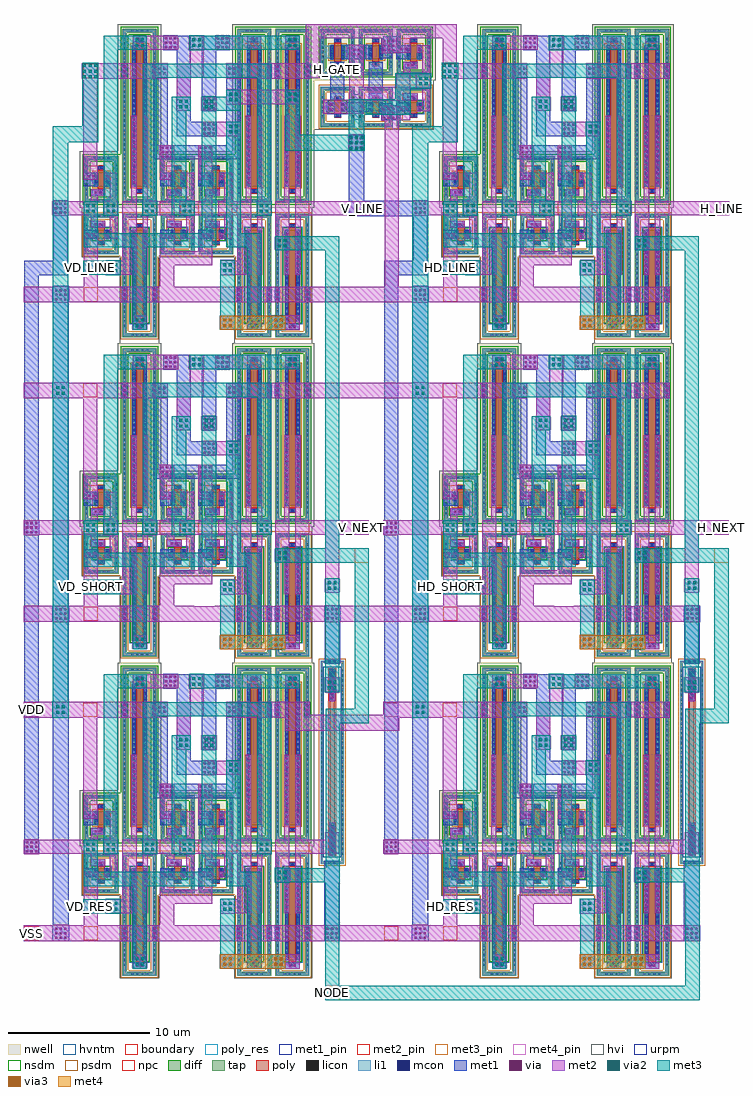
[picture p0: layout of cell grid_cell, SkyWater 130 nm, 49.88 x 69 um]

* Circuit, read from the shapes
.subckt grid_cell HD_LINE HD_RES HD_SHORT H_GATE H_LINE H_NEXT NODE VDD VD_LINE VD_RES VD_SHORT VSS V_GATE V_LINE V_NEXT
XM1 resistor_cell_2/latched_switch_3/latch_1/GATEB resistor_cell_1/GATE VSS VSS sky130_fd_pr__nfet_g5v0d10v5 w=0.65 l=0.5
XM2 resistor_cell_2/latched_switch_2/latch_1/GATEB resistor_cell_1/GATE VSS VSS sky130_fd_pr__nfet_g5v0d10v5 w=0.65 l=0.5
XM3 resistor_cell_2/latched_switch_1/latch_1/GATEB resistor_cell_1/GATE VSS VSS sky130_fd_pr__nfet_g5v0d10v5 w=0.65 l=0.5
XM4 resistor_cell_2/latched_switch_3/latch_1/inverter_1/IN resistor_cell_1/GATE VD_RES VSS sky130_fd_pr__nfet_g5v0d10v5 w=6.5 l=0.5
XM5 resistor_cell_2/latched_switch_2/latch_1/inverter_1/IN resistor_cell_1/GATE VD_SHORT VSS sky130_fd_pr__nfet_g5v0d10v5 w=6.5 l=0.5
XM6 resistor_cell_2/latched_switch_1/latch_1/inverter_1/IN resistor_cell_1/GATE VD_LINE VSS sky130_fd_pr__nfet_g5v0d10v5 w=6.5 l=0.5
XM7 resistor_cell_2/latched_switch_3/pass_gate_2/ENB resistor_cell_2/latched_switch_3/latch_1/inverter_1/IN VSS VSS sky130_fd_pr__nfet_g5v0d10v5 w=0.65 l=0.5
XM8 resistor_cell_2/latched_switch_2/pass_gate_2/ENB resistor_cell_2/latched_switch_2/latch_1/inverter_1/IN VSS VSS sky130_fd_pr__nfet_g5v0d10v5 w=0.65 l=0.5
XM9 resistor_cell_2/latched_switch_1/pass_gate_2/ENB resistor_cell_2/latched_switch_1/latch_1/inverter_1/IN VSS VSS sky130_fd_pr__nfet_g5v0d10v5 w=0.65 l=0.5
XM10 resistor_cell_2/latched_switch_3/Q resistor_cell_2/latched_switch_3/pass_gate_2/ENB VSS VSS sky130_fd_pr__nfet_g5v0d10v5 w=0.65 l=0.5
XM11 resistor_cell_2/latched_switch_2/Q resistor_cell_2/latched_switch_2/pass_gate_2/ENB VSS VSS sky130_fd_pr__nfet_g5v0d10v5 w=0.65 l=0.5
XM12 resistor_cell_2/latched_switch_1/Q resistor_cell_2/latched_switch_1/pass_gate_2/ENB VSS VSS sky130_fd_pr__nfet_g5v0d10v5 w=0.65 l=0.5
XM13 resistor_cell_2/latched_switch_3/latch_1/inverter_1/IN resistor_cell_2/latched_switch_3/latch_1/GATEB resistor_cell_2/latched_switch_3/Q VSS sky130_fd_pr__nfet_g5v0d10v5 w=6.5 l=0.5
XM14 resistor_cell_2/latched_switch_2/latch_1/inverter_1/IN resistor_cell_2/latched_switch_2/latch_1/GATEB resistor_cell_2/latched_switch_2/Q VSS sky130_fd_pr__nfet_g5v0d10v5 w=6.5 l=0.5
XM15 resistor_cell_2/latched_switch_1/latch_1/inverter_1/IN resistor_cell_2/latched_switch_1/latch_1/GATEB resistor_cell_2/latched_switch_1/Q VSS sky130_fd_pr__nfet_g5v0d10v5 w=6.5 l=0.5
XM16 resistor_cell_2/latched_switch_3/UB resistor_cell_2/latched_switch_3/Q NODE VSS sky130_fd_pr__nfet_g5v0d10v5 w=6.5 l=0.5
XM17 V_NEXT resistor_cell_2/latched_switch_2/Q NODE VSS sky130_fd_pr__nfet_g5v0d10v5 w=6.5 l=0.5
XM18 V_LINE resistor_cell_2/latched_switch_1/Q NODE VSS sky130_fd_pr__nfet_g5v0d10v5 w=6.5 l=0.5
XM19 n1 H_GATE and_gate_0/inverter_0/IN VSS sky130_fd_pr__nfet_g5v0d10v5 w=0.65 l=0.5
XM20 VSS V_GATE n1 VSS sky130_fd_pr__nfet_g5v0d10v5 w=0.65 l=0.5
XM21 resistor_cell_1/GATE and_gate_0/inverter_0/IN VSS VSS sky130_fd_pr__nfet_g5v0d10v5 w=0.65 l=0.5
XM22 resistor_cell_1/latched_switch_3/latch_1/GATEB resistor_cell_1/GATE VSS VSS sky130_fd_pr__nfet_g5v0d10v5 w=0.65 l=0.5
XM23 resistor_cell_1/latched_switch_2/latch_1/GATEB resistor_cell_1/GATE VSS VSS sky130_fd_pr__nfet_g5v0d10v5 w=0.65 l=0.5
XM24 resistor_cell_1/latched_switch_1/latch_1/GATEB resistor_cell_1/GATE VSS VSS sky130_fd_pr__nfet_g5v0d10v5 w=0.65 l=0.5
XM25 resistor_cell_1/latched_switch_3/latch_1/inverter_1/IN resistor_cell_1/GATE HD_RES VSS sky130_fd_pr__nfet_g5v0d10v5 w=6.5 l=0.5
XM26 resistor_cell_1/latched_switch_2/latch_1/inverter_1/IN resistor_cell_1/GATE HD_SHORT VSS sky130_fd_pr__nfet_g5v0d10v5 w=6.5 l=0.5
XM27 resistor_cell_1/latched_switch_1/latch_1/inverter_1/IN resistor_cell_1/GATE HD_LINE VSS sky130_fd_pr__nfet_g5v0d10v5 w=6.5 l=0.5
XM28 resistor_cell_1/latched_switch_3/pass_gate_2/ENB resistor_cell_1/latched_switch_3/latch_1/inverter_1/IN VSS VSS sky130_fd_pr__nfet_g5v0d10v5 w=0.65 l=0.5
XM29 resistor_cell_1/latched_switch_2/pass_gate_2/ENB resistor_cell_1/latched_switch_2/latch_1/inverter_1/IN VSS VSS sky130_fd_pr__nfet_g5v0d10v5 w=0.65 l=0.5
XM30 resistor_cell_1/latched_switch_1/pass_gate_2/ENB resistor_cell_1/latched_switch_1/latch_1/inverter_1/IN VSS VSS sky130_fd_pr__nfet_g5v0d10v5 w=0.65 l=0.5
XM31 resistor_cell_1/latched_switch_3/Q resistor_cell_1/latched_switch_3/pass_gate_2/ENB VSS VSS sky130_fd_pr__nfet_g5v0d10v5 w=0.65 l=0.5
XM32 resistor_cell_1/latched_switch_2/Q resistor_cell_1/latched_switch_2/pass_gate_2/ENB VSS VSS sky130_fd_pr__nfet_g5v0d10v5 w=0.65 l=0.5
XM33 resistor_cell_1/latched_switch_1/Q resistor_cell_1/latched_switch_1/pass_gate_2/ENB VSS VSS sky130_fd_pr__nfet_g5v0d10v5 w=0.65 l=0.5
XM34 resistor_cell_1/latched_switch_3/latch_1/inverter_1/IN resistor_cell_1/latched_switch_3/latch_1/GATEB resistor_cell_1/latched_switch_3/Q VSS sky130_fd_pr__nfet_g5v0d10v5 w=6.5 l=0.5
XM35 resistor_cell_1/latched_switch_2/latch_1/inverter_1/IN resistor_cell_1/latched_switch_2/latch_1/GATEB resistor_cell_1/latched_switch_2/Q VSS sky130_fd_pr__nfet_g5v0d10v5 w=6.5 l=0.5
XM36 resistor_cell_1/latched_switch_1/latch_1/inverter_1/IN resistor_cell_1/latched_switch_1/latch_1/GATEB resistor_cell_1/latched_switch_1/Q VSS sky130_fd_pr__nfet_g5v0d10v5 w=6.5 l=0.5
XM37 resistor_cell_1/latched_switch_3/UB resistor_cell_1/latched_switch_3/Q NODE VSS sky130_fd_pr__nfet_g5v0d10v5 w=6.5 l=0.5
XM38 H_NEXT resistor_cell_1/latched_switch_2/Q NODE VSS sky130_fd_pr__nfet_g5v0d10v5 w=6.5 l=0.5
XM39 H_LINE resistor_cell_1/latched_switch_1/Q NODE VSS sky130_fd_pr__nfet_g5v0d10v5 w=6.5 l=0.5
XM40 resistor_cell_2/latched_switch_3/latch_1/GATEB resistor_cell_1/GATE VDD VDD sky130_fd_pr__pfet_g5v0d10v5 w=1 l=0.5
XM41 resistor_cell_2/latched_switch_2/latch_1/GATEB resistor_cell_1/GATE VDD VDD sky130_fd_pr__pfet_g5v0d10v5 w=1 l=0.5
XM42 resistor_cell_2/latched_switch_1/latch_1/GATEB resistor_cell_1/GATE VDD VDD sky130_fd_pr__pfet_g5v0d10v5 w=1 l=0.5
XM43 resistor_cell_2/latched_switch_3/latch_1/inverter_1/IN resistor_cell_2/latched_switch_3/latch_1/GATEB VD_RES VDD sky130_fd_pr__pfet_g5v0d10v5 w=10 l=0.5
XM44 resistor_cell_2/latched_switch_2/latch_1/inverter_1/IN resistor_cell_2/latched_switch_2/latch_1/GATEB VD_SHORT VDD sky130_fd_pr__pfet_g5v0d10v5 w=10 l=0.5
XM45 resistor_cell_2/latched_switch_1/latch_1/inverter_1/IN resistor_cell_2/latched_switch_1/latch_1/GATEB VD_LINE VDD sky130_fd_pr__pfet_g5v0d10v5 w=10 l=0.5
XM46 resistor_cell_2/latched_switch_3/pass_gate_2/ENB resistor_cell_2/latched_switch_3/latch_1/inverter_1/IN VDD VDD sky130_fd_pr__pfet_g5v0d10v5 w=1 l=0.5
XM47 resistor_cell_2/latched_switch_2/pass_gate_2/ENB resistor_cell_2/latched_switch_2/latch_1/inverter_1/IN VDD VDD sky130_fd_pr__pfet_g5v0d10v5 w=1 l=0.5
XM48 resistor_cell_2/latched_switch_1/pass_gate_2/ENB resistor_cell_2/latched_switch_1/latch_1/inverter_1/IN VDD VDD sky130_fd_pr__pfet_g5v0d10v5 w=1 l=0.5
XM49 resistor_cell_2/latched_switch_3/Q resistor_cell_2/latched_switch_3/pass_gate_2/ENB VDD VDD sky130_fd_pr__pfet_g5v0d10v5 w=1 l=0.5
XM50 resistor_cell_2/latched_switch_2/Q resistor_cell_2/latched_switch_2/pass_gate_2/ENB VDD VDD sky130_fd_pr__pfet_g5v0d10v5 w=1 l=0.5
XM51 resistor_cell_2/latched_switch_1/Q resistor_cell_2/latched_switch_1/pass_gate_2/ENB VDD VDD sky130_fd_pr__pfet_g5v0d10v5 w=1 l=0.5
XM52 resistor_cell_2/latched_switch_3/latch_1/inverter_1/IN resistor_cell_1/GATE resistor_cell_2/latched_switch_3/Q VDD sky130_fd_pr__pfet_g5v0d10v5 w=10 l=0.5
XM53 resistor_cell_2/latched_switch_2/latch_1/inverter_1/IN resistor_cell_1/GATE resistor_cell_2/latched_switch_2/Q VDD sky130_fd_pr__pfet_g5v0d10v5 w=10 l=0.5
XM54 resistor_cell_2/latched_switch_1/latch_1/inverter_1/IN resistor_cell_1/GATE resistor_cell_2/latched_switch_1/Q VDD sky130_fd_pr__pfet_g5v0d10v5 w=10 l=0.5
XM55 resistor_cell_2/latched_switch_3/UB resistor_cell_2/latched_switch_3/pass_gate_2/ENB NODE VDD sky130_fd_pr__pfet_g5v0d10v5 w=10 l=0.5
XM56 V_NEXT resistor_cell_2/latched_switch_2/pass_gate_2/ENB NODE VDD sky130_fd_pr__pfet_g5v0d10v5 w=10 l=0.5
XM57 V_LINE resistor_cell_2/latched_switch_1/pass_gate_2/ENB NODE VDD sky130_fd_pr__pfet_g5v0d10v5 w=10 l=0.5
XM58 and_gate_0/inverter_0/IN H_GATE VDD VDD sky130_fd_pr__pfet_g5v0d10v5 w=1 l=0.5
XM59 VDD V_GATE and_gate_0/inverter_0/IN VDD sky130_fd_pr__pfet_g5v0d10v5 w=1 l=0.5
XM60 resistor_cell_1/GATE and_gate_0/inverter_0/IN VDD VDD sky130_fd_pr__pfet_g5v0d10v5 w=1 l=0.5
XM61 resistor_cell_1/latched_switch_3/latch_1/GATEB resistor_cell_1/GATE VDD VDD sky130_fd_pr__pfet_g5v0d10v5 w=1 l=0.5
XM62 resistor_cell_1/latched_switch_2/latch_1/GATEB resistor_cell_1/GATE VDD VDD sky130_fd_pr__pfet_g5v0d10v5 w=1 l=0.5
XM63 resistor_cell_1/latched_switch_1/latch_1/GATEB resistor_cell_1/GATE VDD VDD sky130_fd_pr__pfet_g5v0d10v5 w=1 l=0.5
XM64 resistor_cell_1/latched_switch_3/latch_1/inverter_1/IN resistor_cell_1/latched_switch_3/latch_1/GATEB HD_RES VDD sky130_fd_pr__pfet_g5v0d10v5 w=10 l=0.5
XM65 resistor_cell_1/latched_switch_2/latch_1/inverter_1/IN resistor_cell_1/latched_switch_2/latch_1/GATEB HD_SHORT VDD sky130_fd_pr__pfet_g5v0d10v5 w=10 l=0.5
XM66 resistor_cell_1/latched_switch_1/latch_1/inverter_1/IN resistor_cell_1/latched_switch_1/latch_1/GATEB HD_LINE VDD sky130_fd_pr__pfet_g5v0d10v5 w=10 l=0.5
XM67 resistor_cell_1/latched_switch_3/pass_gate_2/ENB resistor_cell_1/latched_switch_3/latch_1/inverter_1/IN VDD VDD sky130_fd_pr__pfet_g5v0d10v5 w=1 l=0.5
XM68 resistor_cell_1/latched_switch_2/pass_gate_2/ENB resistor_cell_1/latched_switch_2/latch_1/inverter_1/IN VDD VDD sky130_fd_pr__pfet_g5v0d10v5 w=1 l=0.5
XM69 resistor_cell_1/latched_switch_1/pass_gate_2/ENB resistor_cell_1/latched_switch_1/latch_1/inverter_1/IN VDD VDD sky130_fd_pr__pfet_g5v0d10v5 w=1 l=0.5
XM70 resistor_cell_1/latched_switch_3/Q resistor_cell_1/latched_switch_3/pass_gate_2/ENB VDD VDD sky130_fd_pr__pfet_g5v0d10v5 w=1 l=0.5
XM71 resistor_cell_1/latched_switch_2/Q resistor_cell_1/latched_switch_2/pass_gate_2/ENB VDD VDD sky130_fd_pr__pfet_g5v0d10v5 w=1 l=0.5
XM72 resistor_cell_1/latched_switch_1/Q resistor_cell_1/latched_switch_1/pass_gate_2/ENB VDD VDD sky130_fd_pr__pfet_g5v0d10v5 w=1 l=0.5
XM73 resistor_cell_1/latched_switch_3/latch_1/inverter_1/IN resistor_cell_1/GATE resistor_cell_1/latched_switch_3/Q VDD sky130_fd_pr__pfet_g5v0d10v5 w=10 l=0.5
XM74 resistor_cell_1/latched_switch_2/latch_1/inverter_1/IN resistor_cell_1/GATE resistor_cell_1/latched_switch_2/Q VDD sky130_fd_pr__pfet_g5v0d10v5 w=10 l=0.5
XM75 resistor_cell_1/latched_switch_1/latch_1/inverter_1/IN resistor_cell_1/GATE resistor_cell_1/latched_switch_1/Q VDD sky130_fd_pr__pfet_g5v0d10v5 w=10 l=0.5
XM76 resistor_cell_1/latched_switch_3/UB resistor_cell_1/latched_switch_3/pass_gate_2/ENB NODE VDD sky130_fd_pr__pfet_g5v0d10v5 w=10 l=0.5
XM77 H_NEXT resistor_cell_1/latched_switch_2/pass_gate_2/ENB NODE VDD sky130_fd_pr__pfet_g5v0d10v5 w=10 l=0.5
XM78 H_LINE resistor_cell_1/latched_switch_1/pass_gate_2/ENB NODE VDD sky130_fd_pr__pfet_g5v0d10v5 w=10 l=0.5
XR79 V_NEXT resistor_cell_2/latched_switch_3/UB VSS sky130_fd_pr__res_xhigh_po w=0.35 l=8.75
XR80 H_NEXT resistor_cell_1/latched_switch_3/UB VSS sky130_fd_pr__res_xhigh_po w=0.35 l=8.75
.ends

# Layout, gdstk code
import gdstk
lib = gdstk.Library(unit=1e-6, precision=1e-09)
def R(c, l, rs):  # rectangles x0, y0, x1, y1
    for r in rs: c.add(gdstk.rectangle(r[:2], r[2:], *l))
def A(c, l, x, y, w, h, nx, ny, dx, dy):  # array of equal rectangles
    R(c, l, [(x+i*dx, y+j*dy, x+i*dx+w, y+j*dy+h) for i in range(nx) for j in range(ny)])
nwell = (64, 20)
diff = (65, 20)
tap = (65, 44)
poly_res = (66, 13)
poly = (66, 20)
licon = (66, 44)
li1 = (67, 20)
mcon = (67, 44)
met1_pin = (68, 16)
met1 = (68, 20)
via = (68, 44)
met2_pin = (69, 16)
met2 = (69, 20)
via2 = (69, 44)
met3_pin = (70, 16)
met3 = (70, 20)
via3 = (70, 44)
met4_pin = (71, 16)
met4 = (71, 20)
hvi = (75, 20)
urpm = (79, 20)
nsdm = (93, 44)
psdm = (94, 20)
npc = (95, 20)
hvntm = (125, 20)
boundary = (235, 4)

sky130_fd_pr__pfet_g5v0d = lib.new_cell('sky130_fd_pr__pfet_g5v0d10v5_KLAZY6')
R(sky130_fd_pr__pfet_g5v0d, nwell, [(-1.54,-1.985,1.54,1.985)])
R(sky130_fd_pr__pfet_g5v0d, diff, [(-0.54,-0.5,0.54,0.5)])
R(sky130_fd_pr__pfet_g5v0d, tap, [(-1.21,-1.655,1.21,-1.365), (-1.21,-1.365,-0.92,1.365), (0.92,-1.365,1.21,1.365), (-1.21,1.365,1.21,1.655)])
R(sky130_fd_pr__pfet_g5v0d, poly, [(-0.25,-0.985,0.25,0.985)])
A(sky130_fd_pr__pfet_g5v0d, licon, -0.595, -1.595, 0.17, 0.17, 4, 2, 0.34, 3.02)
A(sky130_fd_pr__pfet_g5v0d, licon, -1.15, -1.105, 0.17, 0.17, 1, 7, 0, 0.34)
A(sky130_fd_pr__pfet_g5v0d, licon, 0.98, -1.105, 0.17, 0.17, 1, 7, 0, 0.34)
A(sky130_fd_pr__pfet_g5v0d, licon, -0.48, -0.425, 0.17, 0.17, 1, 3, 0, 0.34)
A(sky130_fd_pr__pfet_g5v0d, licon, 0.31, -0.425, 0.17, 0.17, 1, 3, 0, 0.34)
R(sky130_fd_pr__pfet_g5v0d, licon, [(-0.085,-0.905,0.085,-0.735), (-0.085,0.735,0.085,0.905)])
R(sky130_fd_pr__pfet_g5v0d, li1, [(-1.15,-1.595,1.15,-1.425), (-1.15,-1.425,-0.98,1.425), (0.98,-1.425,1.15,1.425), (-0.25,-0.905,0.25,-0.735), (-0.48,-0.52,-0.31,0.52), (0.31,-0.52,0.48,0.52), (-0.25,0.735,0.25,0.905), (-1.15,1.425,1.15,1.595)])
R(sky130_fd_pr__pfet_g5v0d, mcon, [(-0.085,-0.905,0.085,-0.735), (-0.48,-0.265,-0.31,-0.095), (0.31,-0.265,0.48,-0.095), (-0.48,0.095,-0.31,0.265), (0.31,0.095,0.48,0.265), (-0.085,0.735,0.085,0.905)])
R(sky130_fd_pr__pfet_g5v0d, met1, [(-0.23,-0.935,0.23,-0.705), (-0.51,-0.5,-0.28,0.5), (0.28,-0.5,0.51,0.5), (-0.23,0.705,0.23,0.935)])
R(sky130_fd_pr__pfet_g5v0d, hvi, [(-1.54,-1.985,1.54,1.985)])
R(sky130_fd_pr__pfet_g5v0d, nsdm, [(-1.335,-1.78,1.335,-1.24), (-1.335,-1.24,-0.795,1.24), (0.795,-1.24,1.335,1.24), (-1.335,1.24,1.335,1.78)])
R(sky130_fd_pr__pfet_g5v0d, psdm, [(-0.665,-0.625,0.665,0.625)])
R(sky130_fd_pr__pfet_g5v0d, npc, [(-0.185,-1.005,0.185,-0.635), (-0.185,0.635,0.185,1.005)])
R(sky130_fd_pr__pfet_g5v0d, boundary, [(-1.065,-1.51,1.065,1.51)])

sky130_fd_pr__nfet_g5v0d = lib.new_cell('sky130_fd_pr__nfet_g5v0d10v5_CYDA8L')
R(sky130_fd_pr__nfet_g5v0d, diff, [(-0.54,-0.325,0.54,0.325)])
R(sky130_fd_pr__nfet_g5v0d, tap, [(-1.21,-1.435,1.21,-1.145), (-1.21,-1.145,-0.92,1.145), (0.92,-1.145,1.21,1.145), (-1.21,1.145,1.21,1.435)])
R(sky130_fd_pr__nfet_g5v0d, poly, [(-0.25,-0.765,0.25,0.765)])
A(sky130_fd_pr__nfet_g5v0d, licon, -0.595, -1.375, 0.17, 0.17, 4, 2, 0.34, 2.58)
A(sky130_fd_pr__nfet_g5v0d, licon, -1.15, -0.765, 0.17, 0.17, 1, 5, 0, 0.34)
A(sky130_fd_pr__nfet_g5v0d, licon, 0.98, -0.765, 0.17, 0.17, 1, 5, 0, 0.34)
R(sky130_fd_pr__nfet_g5v0d, licon, [(-0.085,-0.685,0.085,-0.515), (-0.48,-0.255,-0.31,-0.085), (0.31,-0.255,0.48,-0.085), (-0.48,0.085,-0.31,0.255), (0.31,0.085,0.48,0.255), (-0.085,0.515,0.085,0.685)])
R(sky130_fd_pr__nfet_g5v0d, li1, [(-1.15,-1.375,1.15,-1.205), (-1.15,-1.205,-0.98,1.205), (0.98,-1.205,1.15,1.205), (-0.25,-0.685,0.25,-0.515), (-0.48,-0.345,-0.31,0.345), (0.31,-0.345,0.48,0.345), (-0.25,0.515,0.25,0.685), (-1.15,1.205,1.15,1.375)])
R(sky130_fd_pr__nfet_g5v0d, mcon, [(-0.085,-0.685,0.085,-0.515), (-0.48,-0.265,-0.31,-0.095), (0.31,-0.265,0.48,-0.095), (-0.48,0.095,-0.31,0.265), (0.31,0.095,0.48,0.265), (-0.085,0.515,0.085,0.685)])
R(sky130_fd_pr__nfet_g5v0d, met1, [(-0.23,-0.715,0.23,-0.485), (-0.51,-0.325,-0.28,0.325), (0.28,-0.325,0.51,0.325), (-0.23,0.485,0.23,0.715)])
R(sky130_fd_pr__nfet_g5v0d, hvi, [(-1.395,-1.62,1.395,1.62)])
R(sky130_fd_pr__nfet_g5v0d, nsdm, [(-0.665,-0.45,0.665,0.45)])
R(sky130_fd_pr__nfet_g5v0d, psdm, [(-1.335,-1.56,1.335,-1.02), (-1.335,-1.02,-0.795,1.02), (0.795,-1.02,1.335,1.02), (-1.335,1.02,1.335,1.56)])
R(sky130_fd_pr__nfet_g5v0d, npc, [(-0.185,-0.785,0.185,-0.415), (-0.185,0.415,0.185,0.785)])
R(sky130_fd_pr__nfet_g5v0d, hvntm, [(-0.725,-0.51,0.725,0.51)])
R(sky130_fd_pr__nfet_g5v0d, boundary, [(-1.065,-1.29,1.065,1.29)])

inverter = lib.new_cell('inverter')
R(inverter, li1, [(0.385,1.35,1.23,1.88), (0.77,2.13,1.81,2.575), (0.875,4.375,1.71,4.75), (0.335,4.995,1.23,5.975)])
R(inverter, met1, [(0.285,1.3,1.33,1.93), (1.75,1.3,2.12,1.93), (0.77,2.08,1.81,2.575), (0.775,4.325,1.81,4.8), (0.285,4.995,1.33,5.975), (1.75,4.995,2.12,5.975)])
R(inverter, via, [(0.595,1.41,0.745,1.56), (0.915,1.41,1.065,1.56), (1.86,1.41,2.01,1.56), (1.055,2.25,1.205,2.4), (1.375,2.25,1.525,2.4), (1.055,4.485,1.205,4.635), (1.375,4.485,1.525,4.635), (0.575,5.635,0.725,5.785), (0.895,5.635,1.045,5.785), (1.86,5.635,2.01,5.785)])
R(inverter, met2_pin, [(0.275,0.675,1.275,1.675), (0.275,2.95,1.275,3.95), (1.7,2.95,2.7,3.95), (0.275,5.45,1.275,6.45)])
R(inverter, met2, [(0.275,0.675,1.275,1.3), (0.275,1.3,1.33,1.675), (1.75,1.3,2.695,1.675), (2.12,1.675,2.695,2.95), (0.77,2.08,1.81,2.575), (0.77,2.575,1.275,2.95), (0.275,2.95,1.275,3.95), (1.7,2.95,2.7,3.95), (0.77,3.95,1.275,4.325), (2.12,3.95,2.695,5.45), (0.77,4.325,1.81,4.8), (0.275,5.45,1.275,6.45), (1.75,5.45,2.695,5.975)])
R(inverter, hvi, [(0.145,3.235,2.935,3.5)])
inverter.add(gdstk.Reference(sky130_fd_pr__pfet_g5v0d, (1.54,5.485)))
inverter.add(gdstk.Reference(sky130_fd_pr__nfet_g5v0d, (1.54,1.615)))
inverter.add(gdstk.Label('VDD', (0.775,5.95), layer=69, texttype=5))
inverter.add(gdstk.Label('IN', (0.775,3.45), layer=69, texttype=5))
inverter.add(gdstk.Label('OUT', (2.2,3.45), layer=69, texttype=5))
inverter.add(gdstk.Label('VSS', (0.775,1.175), layer=69, texttype=5))

nand_gate = lib.new_cell('nand_gate')
R(nand_gate, li1, [(2.52,0.72,3.24,2.51), (0.96,1.275,1.33,1.955), (1.75,1.275,2.12,1.955), (3.66,1.275,4.03,1.955), (4.475,1.3,5.395,1.88), (1.37,2.13,1.71,2.15), (4.07,2.13,4.41,2.15), (1.05,2.15,2.025,2.575), (3.75,2.15,4.725,2.575), (1.05,4.325,2.025,4.775), (3.75,4.325,4.725,4.775), (1.8,4.97,2.275,6), (3.485,4.97,3.98,6), (4.475,5.045,5.395,5.975), (0.45,5.05,1.23,5.925)])
R(nand_gate, mcon, [(1.06,1.35,1.23,1.52), (1.85,1.35,2.02,1.52), (3.76,1.35,3.93,1.52), (4.55,1.35,4.72,1.52), (5.03,1.505,5.2,1.675), (1.06,1.71,1.23,1.88), (1.85,1.71,2.02,1.88), (3.76,1.71,3.93,1.88), (4.55,1.71,4.72,1.88)])
R(nand_gate, met1_pin, [(4.775,0.725,5.775,1.725), (1.025,2.95,2.025,3.95), (3.75,2.95,4.75,3.95), (4.775,5.6,5.775,6.6)])
R(nand_gate, met1, [(4.775,0.725,5.775,1.275), (0.71,1.275,1.355,1.955), (1.75,1.275,4.03,1.955), (4.525,1.275,5.775,1.3), (4.475,1.3,5.775,1.725), (4.475,1.725,5.395,1.88), (1.025,2.1,2.025,4.8), (3.75,2.1,4.75,4.8), (1.8,4.97,3.98,6), (4.475,5.045,5.395,5.6), (4.475,5.6,5.775,6), (4.775,6,5.775,6.6)])
R(nand_gate, via, [(0.955,1.38,1.105,1.53), (0.955,1.7,1.105,1.85), (2.64,5.25,2.79,5.4), (2.96,5.25,3.11,5.4), (2.64,5.57,2.79,5.72), (2.96,5.57,3.11,5.72)])
R(nand_gate, met2_pin, [(2.375,1.125,3.375,2.125)])
R(nand_gate, met2, [(0.525,1.125,3.375,2.125), (2.375,2.125,3.375,6)])
R(nand_gate, hvi, [(0.145,3.235,5.635,3.5)])
R(nand_gate, nsdm, [(2.875,3.705,2.905,7.265)])
R(nand_gate, psdm, [(2.875,0.055,2.905,3.175)])
nand_gate.add(gdstk.Reference(sky130_fd_pr__pfet_g5v0d, (4.24,5.485)))
nand_gate.add(gdstk.Reference(sky130_fd_pr__pfet_g5v0d, (1.54,5.485)))
nand_gate.add(gdstk.Reference(sky130_fd_pr__nfet_g5v0d, (4.24,1.615)))
nand_gate.add(gdstk.Reference(sky130_fd_pr__nfet_g5v0d, (1.54,1.615)))
nand_gate.add(gdstk.Label('VDD', (5.275,6.1), layer=68, texttype=5))
nand_gate.add(gdstk.Label('A', (1.525,3.45), layer=68, texttype=5))
nand_gate.add(gdstk.Label('OUT', (2.875,1.625), layer=69, texttype=5))
nand_gate.add(gdstk.Label('B', (4.25,3.45), layer=68, texttype=5))
nand_gate.add(gdstk.Label('VSS', (5.275,1.225), layer=68, texttype=5))

and_gate = lib.new_cell('and_gate')
R(and_gate, met1_pin, [(1.025,3.775,2.025,4.775), (3.75,3.775,4.75,4.775)])
R(and_gate, met1, [(4.62,0.675,5.68,0.725), (4.62,0.725,5.775,1.675), (4.775,1.675,5.775,1.725), (1.025,2.95,2.025,4.775), (3.75,2.95,4.75,4.775), (4.625,5.45,5.775,6.45), (4.775,6.45,5.775,6.6)])
A(and_gate, via, 4.755, 0.78, 0.15, 0.15, 3, 3, 0.32, 0.32)
A(and_gate, via, 4.765, 5.555, 0.15, 0.15, 3, 3, 0.32, 0.32)
R(and_gate, met2_pin, [(5.675,0.675,6.675,1.675), (7.1,2.95,8.1,3.95), (5.675,5.45,6.675,6.45)])
R(and_gate, met2, [(4.65,0.645,5.65,0.675), (4.65,0.675,6.675,1.675), (2.375,1.125,3.375,2.05), (4.65,1.675,5.65,1.705), (2.375,2.05,6.675,3.05), (7.1,2.95,8.1,3.95), (5.675,3.05,6.675,3.95), (4.65,5.42,5.65,5.45), (4.65,5.45,6.675,6.45), (4.65,6.45,5.65,6.48)])
R(and_gate, nsdm, [(5.575,3.705,5.605,7.265)])
R(and_gate, psdm, [(5.575,0.055,5.605,3.175)])
and_gate.add(gdstk.Reference(inverter, (5.4,0)))
and_gate.add(gdstk.Reference(nand_gate, (0,0)))
and_gate.add(gdstk.Label('VDD', (6.175,5.95), layer=69, texttype=5))
and_gate.add(gdstk.Label('OUT', (7.6,3.45), layer=69, texttype=5))
and_gate.add(gdstk.Label('A', (1.525,4.275), layer=68, texttype=5))
and_gate.add(gdstk.Label('B', (4.25,4.275), layer=68, texttype=5))
and_gate.add(gdstk.Label('VSS', (6.175,1.175), layer=69, texttype=5))

sky130_fd_pr__res_xhigh_ = lib.new_cell('sky130_fd_pr__res_xhigh_po_0p35_75WWSS')
R(sky130_fd_pr__res_xhigh_, tap, [(-0.825,-7.185,0.825,-7.015), (-0.825,-7.015,-0.655,7.015), (0.655,-7.015,0.825,7.015), (-0.825,7.015,0.825,7.185)])
R(sky130_fd_pr__res_xhigh_, poly_res, [(-0.175,-4.435,0.175,4.435)])
R(sky130_fd_pr__res_xhigh_, poly, [(-0.175,-6.535,0.175,6.535)])
A(sky130_fd_pr__res_xhigh_, licon, -0.825, -6.545, 0.17, 0.17, 1, 39, 0, 0.34)
A(sky130_fd_pr__res_xhigh_, licon, 0.655, -6.545, 0.17, 0.17, 1, 39, 0, 0.34)
R(sky130_fd_pr__res_xhigh_, licon, [(-0.255,-7.185,-0.085,-7.015), (0.085,-7.185,0.255,-7.015), (-0.095,-6.455,0.095,-4.455), (-0.095,4.455,0.095,6.455), (-0.255,7.015,-0.085,7.185), (0.085,7.015,0.255,7.185)])
R(sky130_fd_pr__res_xhigh_, li1, [(-0.825,-7.185,0.825,-7.015), (-0.825,-7.015,-0.655,7.015), (0.655,-7.015,0.825,7.015), (-0.175,-6.535,0.175,-4.375), (-0.175,4.375,0.175,6.535), (-0.825,7.015,0.825,7.185)])
A(sky130_fd_pr__res_xhigh_, mcon, -0.085, -6.44, 0.17, 0.17, 1, 6, 0, 0.36)
A(sky130_fd_pr__res_xhigh_, mcon, -0.085, 4.465, 0.17, 0.17, 1, 6, 0, 0.36)
R(sky130_fd_pr__res_xhigh_, met1, [(-0.125,-6.505,0.125,-4.4), (-0.125,4.4,0.125,6.505)])
R(sky130_fd_pr__res_xhigh_, urpm, [(-0.635,-6.735,0.635,6.735)])
R(sky130_fd_pr__res_xhigh_, psdm, [(-0.95,-7.31,0.95,7.31)])
R(sky130_fd_pr__res_xhigh_, npc, [(-0.27,-6.63,0.27,6.63)])
R(sky130_fd_pr__res_xhigh_, boundary, [(-0.74,-7.1,0.74,7.1)])

c_sky130_fd_pr__pfet_g5v0d = lib.new_cell('sky130_fd_pr__pfet_g5v0d10v5_KLP5N5')
R(c_sky130_fd_pr__pfet_g5v0d, nwell, [(-1.54,-6.485,1.54,6.485)])
R(c_sky130_fd_pr__pfet_g5v0d, diff, [(-0.54,-5,0.54,5)])
R(c_sky130_fd_pr__pfet_g5v0d, tap, [(-1.21,-6.155,1.21,-5.865), (-1.21,-5.865,-0.92,5.865), (0.92,-5.865,1.21,5.865), (-1.21,5.865,1.21,6.155)])
R(c_sky130_fd_pr__pfet_g5v0d, poly, [(-0.25,-5.485,0.25,5.485)])
A(c_sky130_fd_pr__pfet_g5v0d, licon, -0.595, -6.095, 0.17, 0.17, 4, 2, 0.34, 12.02)
A(c_sky130_fd_pr__pfet_g5v0d, licon, -1.15, -5.525, 0.17, 0.17, 1, 33, 0, 0.34)
A(c_sky130_fd_pr__pfet_g5v0d, licon, 0.98, -5.525, 0.17, 0.17, 1, 33, 0, 0.34)
A(c_sky130_fd_pr__pfet_g5v0d, licon, -0.48, -4.845, 0.17, 0.17, 1, 29, 0, 0.34)
A(c_sky130_fd_pr__pfet_g5v0d, licon, 0.31, -4.845, 0.17, 0.17, 1, 29, 0, 0.34)
R(c_sky130_fd_pr__pfet_g5v0d, licon, [(-0.085,-5.405,0.085,-5.235), (-0.085,5.235,0.085,5.405)])
R(c_sky130_fd_pr__pfet_g5v0d, li1, [(-1.15,-6.095,1.15,-5.925), (-1.15,-5.925,-0.98,5.925), (0.98,-5.925,1.15,5.925), (-0.25,-5.405,0.25,-5.235), (-0.48,-5.02,-0.31,5.02), (0.31,-5.02,0.48,5.02), (-0.25,5.235,0.25,5.405), (-1.15,5.925,1.15,6.095)])
A(c_sky130_fd_pr__pfet_g5v0d, mcon, -0.48, -4.765, 0.17, 0.17, 1, 27, 0, 0.36)
A(c_sky130_fd_pr__pfet_g5v0d, mcon, 0.31, -4.765, 0.17, 0.17, 1, 27, 0, 0.36)
R(c_sky130_fd_pr__pfet_g5v0d, mcon, [(-0.085,-5.405,0.085,-5.235), (-0.085,5.235,0.085,5.405)])
R(c_sky130_fd_pr__pfet_g5v0d, met1, [(-0.23,-5.435,0.23,-5.205), (-0.51,-5,-0.28,5), (0.28,-5,0.51,5), (-0.23,5.205,0.23,5.435)])
R(c_sky130_fd_pr__pfet_g5v0d, hvi, [(-1.54,-6.485,1.54,6.485)])
R(c_sky130_fd_pr__pfet_g5v0d, nsdm, [(-1.335,-6.28,1.335,-5.74), (-1.335,-5.74,-0.795,5.74), (0.795,-5.74,1.335,5.74), (-1.335,5.74,1.335,6.28)])
R(c_sky130_fd_pr__pfet_g5v0d, psdm, [(-0.665,-5.125,0.665,5.125)])
R(c_sky130_fd_pr__pfet_g5v0d, npc, [(-0.185,-5.505,0.185,-5.135), (-0.185,5.135,0.185,5.505)])
R(c_sky130_fd_pr__pfet_g5v0d, boundary, [(-1.065,-6.01,1.065,6.01)])

c_sky130_fd_pr__nfet_g5v0d = lib.new_cell('sky130_fd_pr__nfet_g5v0d10v5_TMGAGH')
R(c_sky130_fd_pr__nfet_g5v0d, diff, [(-0.54,-3.25,0.54,3.25)])
R(c_sky130_fd_pr__nfet_g5v0d, tap, [(-1.21,-4.36,1.21,-4.07), (-1.21,-4.07,-0.92,4.07), (0.92,-4.07,1.21,4.07), (-1.21,4.07,1.21,4.36)])
R(c_sky130_fd_pr__nfet_g5v0d, poly, [(-0.25,-3.69,0.25,3.69)])
A(c_sky130_fd_pr__nfet_g5v0d, licon, -0.595, -4.3, 0.17, 0.17, 4, 2, 0.34, 8.43)
A(c_sky130_fd_pr__nfet_g5v0d, licon, -1.15, -3.655, 0.17, 0.17, 1, 22, 0, 0.34)
A(c_sky130_fd_pr__nfet_g5v0d, licon, 0.98, -3.655, 0.17, 0.17, 1, 22, 0, 0.34)
A(c_sky130_fd_pr__nfet_g5v0d, licon, -0.48, -3.145, 0.17, 0.17, 1, 19, 0, 0.34)
A(c_sky130_fd_pr__nfet_g5v0d, licon, 0.31, -3.145, 0.17, 0.17, 1, 19, 0, 0.34)
R(c_sky130_fd_pr__nfet_g5v0d, licon, [(-0.085,-3.61,0.085,-3.44), (-0.085,3.44,0.085,3.61)])
R(c_sky130_fd_pr__nfet_g5v0d, li1, [(-1.15,-4.3,1.15,-4.13), (-1.15,-4.13,-0.98,4.13), (0.98,-4.13,1.15,4.13), (-0.25,-3.61,0.25,-3.44), (-0.48,-3.27,-0.31,3.27), (0.31,-3.27,0.48,3.27), (-0.25,3.44,0.25,3.61), (-1.15,4.13,1.15,4.3)])
A(c_sky130_fd_pr__nfet_g5v0d, mcon, -0.48, -3.145, 0.17, 0.17, 1, 18, 0, 0.36)
A(c_sky130_fd_pr__nfet_g5v0d, mcon, 0.31, -3.145, 0.17, 0.17, 1, 18, 0, 0.36)
R(c_sky130_fd_pr__nfet_g5v0d, mcon, [(-0.085,-3.61,0.085,-3.44), (-0.085,3.44,0.085,3.61)])
R(c_sky130_fd_pr__nfet_g5v0d, met1, [(-0.23,-3.64,0.23,-3.41), (-0.51,-3.25,-0.28,3.25), (0.28,-3.25,0.51,3.25), (-0.23,3.41,0.23,3.64)])
R(c_sky130_fd_pr__nfet_g5v0d, hvi, [(-1.395,-4.545,1.395,4.545)])
R(c_sky130_fd_pr__nfet_g5v0d, nsdm, [(-0.665,-3.375,0.665,3.375)])
R(c_sky130_fd_pr__nfet_g5v0d, psdm, [(-1.335,-4.485,1.335,-3.945), (-1.335,-3.945,-0.795,3.945), (0.795,-3.945,1.335,3.945), (-1.335,3.945,1.335,4.485)])
R(c_sky130_fd_pr__nfet_g5v0d, npc, [(-0.185,-3.71,0.185,-3.34), (-0.185,3.34,0.185,3.71)])
R(c_sky130_fd_pr__nfet_g5v0d, hvntm, [(-0.725,-3.435,0.725,3.435)])
R(c_sky130_fd_pr__nfet_g5v0d, boundary, [(-1.06,-4.21,1.06,4.21)])

pass_gate = lib.new_cell('pass_gate')
R(pass_gate, li1, [(1.05,0.7,2.05,1.1), (0.39,2.695,0.56,3.71), (2.52,2.695,2.69,3.71), (0.39,18.495,0.56,19.5), (2.52,18.495,2.69,19.5), (1.05,21.05,2.05,21.5)])
A(pass_gate, mcon, 0.39, 2.755, 0.17, 0.17, 1, 3, 0, 0.36)
A(pass_gate, mcon, 2.52, 2.755, 0.17, 0.17, 1, 3, 0, 0.36)
A(pass_gate, mcon, 0.39, 18.55, 0.17, 0.17, 1, 3, 0, 0.36)
A(pass_gate, mcon, 2.52, 18.55, 0.17, 0.17, 1, 3, 0, 0.36)
R(pass_gate, met1, [(1.05,0.7,2.05,1.1), (0.29,2.645,0.66,3.76), (2.42,2.645,2.79,3.76), (0.96,4.6,1.33,7.78), (1.75,4.6,2.12,7.78), (0.96,10.845,1.33,15.825), (1.75,10.845,2.12,15.825), (0.29,18.445,0.66,19.55), (2.42,18.445,2.79,19.55), (1.05,21.05,2.05,21.5)])
A(pass_gate, via, 0.4, 2.805, 0.15, 0.15, 1, 3, 0, 0.32)
A(pass_gate, via, 2.53, 2.805, 0.15, 0.15, 1, 3, 0, 0.32)
A(pass_gate, via, 1.07, 4.835, 0.15, 0.15, 1, 9, 0, 0.32)
A(pass_gate, via, 1.86, 4.835, 0.15, 0.15, 1, 9, 0, 0.32)
A(pass_gate, via, 1.07, 11.02, 0.15, 0.15, 1, 15, 0, 0.32)
A(pass_gate, via, 1.86, 11.02, 0.15, 0.15, 1, 15, 0, 0.32)
A(pass_gate, via, 0.4, 18.6, 0.15, 0.15, 1, 3, 0, 0.32)
A(pass_gate, via, 2.53, 18.6, 0.15, 0.15, 1, 3, 0, 0.32)
R(pass_gate, via, [(1.315,0.825,1.465,0.975), (1.635,0.825,1.785,0.975), (1.315,21.2,1.465,21.35), (1.635,21.2,1.785,21.35)])
R(pass_gate, met2_pin, [(1.05,0.7,2.05,1.7), (1.05,2.7,2.05,3.7), (0.325,8.8,1.325,9.8), (1.75,8.8,2.75,9.8), (1.05,18.5,2.05,19.5), (1.05,20.5,2.05,21.5)])
R(pass_gate, met2, [(1.05,0.7,2.05,1.7), (0.29,2.645,2.79,3.76), (0.96,4.6,1.33,8.8), (1.75,4.6,2.12,8.8), (0.325,8.8,1.33,9.8), (1.75,8.8,2.75,9.8), (0.96,9.8,1.33,15.825), (1.75,9.8,2.12,15.825), (0.29,18.445,2.79,19.55), (1.05,20.5,2.05,21.5)])
R(pass_gate, hvi, [(0.145,9.085,2.935,9.35)])
pass_gate.add(gdstk.Reference(c_sky130_fd_pr__pfet_g5v0d, (1.54,15.835)))
pass_gate.add(gdstk.Reference(c_sky130_fd_pr__nfet_g5v0d, (1.54,4.54)))
pass_gate.add(gdstk.Label('VDD', (1.55,19), layer=69, texttype=5))
pass_gate.add(gdstk.Label('ENB', (1.55,21), layer=69, texttype=5))
pass_gate.add(gdstk.Label('UA', (0.825,9.3), layer=69, texttype=5))
pass_gate.add(gdstk.Label('UB', (2.25,9.3), layer=69, texttype=5))
pass_gate.add(gdstk.Label('EN', (1.55,1.2), layer=69, texttype=5))
pass_gate.add(gdstk.Label('VSS', (1.55,3.2), layer=69, texttype=5))

latch = lib.new_cell('latch')
R(latch, met1, [(2.525,12.75,8.675,13.75), (2.525,13.75,3.525,19.5), (7.675,13.75,8.675,19.5), (4.15,14.4,6.98,15.4), (4.15,15.4,5.15,20.47), (5.95,16.145,6.95,20.47), (3.225,20.47,5.15,21.5), (5.95,20.47,7.9,21.5), (3.225,21.5,4.225,21.53), (6.9,21.5,7.9,21.53)])
A(latch, via, 3.08, 12.855, 0.15, 0.15, 3, 3, 0.32, 0.32)
A(latch, via, 5.78, 12.855, 0.15, 0.15, 3, 3, 0.32, 0.32)
A(latch, via, 6.055, 14.505, 0.15, 0.15, 3, 3, 0.32, 0.32)
A(latch, via, 6.055, 16.28, 0.15, 0.15, 3, 3, 0.32, 0.32)
A(latch, via, 3.33, 20.605, 0.15, 0.15, 3, 3, 0.32, 0.32)
A(latch, via, 7.005, 20.605, 0.15, 0.15, 3, 3, 0.32, 0.32)
R(latch, via, [(2.9,18.775,3.05,18.925), (3.22,18.775,3.37,18.925), (7.815,18.775,7.965,18.925), (8.135,18.775,8.285,18.925), (2.9,19.095,3.05,19.245), (3.22,19.095,3.37,19.245), (7.815,19.095,7.965,19.245), (8.135,19.095,8.285,19.245)])
R(latch, met2_pin, [(1.05,0.7,2.05,1.7), (7.25,0.7,8.25,1.7), (9.15,0.7,10.15,1.7), (1.05,2.7,2.05,3.7), (9.15,2.7,10.15,3.7), (0.325,8.8,1.325,9.8), (1.05,18.5,2.05,19.5), (9.15,18.5,10.15,19.5), (1.05,20.5,2.05,21.5), (5.075,20.5,6.075,21.5), (9.15,20.5,10.15,21.5)])
R(latch, met2, [(1.05,0.7,2.05,0.725), (7.25,0.7,8.25,0.725), (9.15,0.7,10.15,0.725), (1.03,0.725,2.07,1.675), (7.23,0.725,8.27,1.675), (9.13,0.725,10.17,1.675), (1.05,1.675,2.05,1.7), (7.25,1.675,8.25,1.7), (9.15,1.675,10.15,1.7), (0.295,2.645,10.88,3.75), (0.295,3.75,5.4,3.76), (6.85,3.75,10.88,3.76), (2.975,3.76,3.975,5.275), (7.25,4.555,8.25,4.6), (7.25,4.6,9.43,5.6), (2.975,5.275,6.675,6.275), (7.25,5.6,8.25,5.645), (8.43,5.6,9.43,8.8), (2.975,6.275,3.975,7.525), (5.675,6.275,6.675,7.525), (1.75,8.755,2.75,8.8), (0.325,8.8,1.325,9.8), (1.75,8.8,3.975,8.83), (4.355,8.8,6.675,9.8), (7.1,8.8,9.43,9.8), (9.805,8.8,10.895,9.8), (1.75,8.83,3.995,9.775), (1.75,9.775,3.975,9.8), (1.75,9.8,2.75,9.845), (2.975,11.3,3.975,13.75), (5.675,11.3,6.675,13.75), (5.95,14.37,6.95,14.4), (5.95,14.4,8.72,15.4), (5.95,15.4,6.95,15.43), (4.15,16.175,5.15,16.2), (5.905,16.175,6.995,17.175), (4.13,16.2,5.17,17.15), (4.15,17.15,5.15,18.525), (8.75,18.445,10.9,18.45), (0.275,18.45,3.525,19.55), (7.675,18.45,10.9,19.55), (4.15,18.525,6.075,19.525), (5.075,19.525,6.075,21.5), (1.05,20.5,4.255,21.5), (6.87,20.5,10.15,21.5)])
R(latch, via2, [(1.25,0.9,1.45,1.1), (1.65,0.9,1.85,1.1), (7.45,0.9,7.65,1.1), (7.85,0.9,8.05,1.1), (9.35,0.9,9.55,1.1), (9.75,0.9,9.95,1.1), (1.25,1.3,1.45,1.5), (1.65,1.3,1.85,1.5), (7.45,1.3,7.65,1.5), (7.85,1.3,8.05,1.5), (9.35,1.3,9.55,1.5), (9.75,1.3,9.95,1.5), (7.45,4.8,7.65,5), (7.85,4.8,8.05,5), (7.45,5.2,7.65,5.4), (7.85,5.2,8.05,5.4), (1.95,9,2.15,9.2), (2.35,9,2.55,9.2), (4.6,9,4.8,9.2), (5,9,5.2,9.2), (10.05,9,10.25,9.2), (10.45,9,10.65,9.2), (1.95,9.4,2.15,9.6), (2.35,9.4,2.55,9.6), (4.6,9.4,4.8,9.6), (5,9.4,5.2,9.6), (10.05,9.4,10.25,9.6), (10.45,9.4,10.65,9.6), (7.875,14.6,8.075,14.8), (8.275,14.6,8.475,14.8), (7.875,15,8.075,15.2), (8.275,15,8.475,15.2), (4.35,16.375,4.55,16.575), (4.75,16.375,4.95,16.575), (6.15,16.375,6.35,16.575), (6.55,16.375,6.75,16.575), (4.35,16.775,4.55,16.975), (4.75,16.775,4.95,16.975), (6.15,16.775,6.35,16.975), (6.55,16.775,6.75,16.975)])
R(latch, met3, [(1.05,0.7,2.05,6.525), (7.25,0.7,8.25,4.575), (9.15,0.7,10.15,6.525), (7.225,4.575,8.275,5.625), (1.05,6.525,6.95,7.525), (7.675,6.525,10.15,7.525), (5.95,7.525,6.95,16.15), (7.675,7.525,8.675,14.375), (1.725,8.775,2.775,9.825), (4.375,8.775,5.425,8.8), (9.825,8.775,10.875,9.825), (3.825,8.8,5.425,9.825), (1.75,9.825,2.75,18.525), (3.825,9.825,4.825,16.175), (9.855,9.825,10.85,13.38), (9.85,13.38,10.85,14.12), (9.85,14.12,10.845,18.525), (7.65,14.375,8.7,15.425), (5.925,16.15,6.975,17.2), (3.825,16.175,5.15,17.175), (1.75,18.525,10.845,19.52), (1.75,19.52,6.075,19.525)])
A(latch, nsdm, 2.875, 9.555, 0.03, 3.56, 3, 1, 2.7, 0)
A(latch, psdm, 2.875, 5.905, 0.03, 3.12, 3, 1, 2.7, 0)
latch.add(gdstk.Reference(inverter, (5.4,5.85)))
latch.add(gdstk.Reference(inverter, (2.7,5.85)))
latch.add(gdstk.Reference(pass_gate, (8.1,0)))
latch.add(gdstk.Reference(pass_gate, (0,0)))
latch.add(gdstk.Label('Q', (7.75,1.2), layer=69, texttype=5))
latch.add(gdstk.Label('VDD', (9.65,19), layer=69, texttype=5))
latch.add(gdstk.Label('VDD', (1.55,19), layer=69, texttype=5))
latch.add(gdstk.Label('QB', (5.575,21), layer=69, texttype=5))
latch.add(gdstk.Label('GATEB', (9.65,1.2), layer=69, texttype=5))
latch.add(gdstk.Label('GATEB', (1.55,21), layer=69, texttype=5))
latch.add(gdstk.Label('D', (0.825,9.3), layer=69, texttype=5))
latch.add(gdstk.Label('GATE', (9.65,21), layer=69, texttype=5))
latch.add(gdstk.Label('GATE', (1.55,1.2), layer=69, texttype=5))
latch.add(gdstk.Label('VSS', (9.65,3.2), layer=69, texttype=5))
latch.add(gdstk.Label('VSS', (1.55,3.2), layer=69, texttype=5))

latched_switch = lib.new_cell('latched_switch')
R(latched_switch, met2_pin, [(0.275,2.7,1.275,3.7), (13.825,8.8,14.825,9.8), (15.25,8.8,16.25,9.8), (0.25,18.5,1.25,19.5)])
R(latched_switch, met2, [(13.57,0.68,15.525,0.7), (13.565,0.7,15.55,1.7), (3.775,0.725,4.725,1.675), (9.975,0.725,10.925,1.675), (13.57,1.7,15.525,1.72), (0.27,2.645,4.65,2.65), (0.27,2.65,5.5,3.75), (11.05,2.65,16.275,3.75), (0.27,3.75,4.65,3.76), (0.275,3.76,1.275,7.525), (1.83,4.6,4.03,5.6), (3.03,5.6,4.03,9.8), (1.7,8.755,2.7,9.845), (13.825,8.8,14.825,9.8), (15.25,8.8,16.25,9.8), (0.255,8.825,1.295,9.775), (0.25,11.3,1.25,18.445), (0.25,18.445,4.65,18.45), (0.25,18.45,5.5,19.55), (11.075,18.45,16.3,19.55), (3.775,20.48,4.725,21.52), (14.575,20.48,15.525,21.52), (7.73,20.5,8.82,21.5)])
R(latched_switch, via2, [(3.95,0.9,4.15,1.1), (4.35,0.9,4.55,1.1), (10.15,0.9,10.35,1.1), (10.55,0.9,10.75,1.1), (13.745,0.9,13.945,1.1), (14.145,0.9,14.345,1.1), (3.95,1.3,4.15,1.5), (4.35,1.3,4.55,1.5), (10.15,1.3,10.35,1.5), (10.55,1.3,10.75,1.5), (13.745,1.3,13.945,1.5), (14.145,1.3,14.345,1.5), (2.075,4.8,2.275,5), (2.475,4.8,2.675,5), (2.075,5.2,2.275,5.4), (2.475,5.2,2.675,5.4), (0.475,9,0.675,9.2), (0.875,9,1.075,9.2), (1.9,9,2.1,9.2), (2.3,9,2.5,9.2), (0.475,9.4,0.675,9.6), (0.875,9.4,1.075,9.6), (1.9,9.4,2.1,9.6), (2.3,9.4,2.5,9.6), (3.95,20.7,4.15,20.9), (4.35,20.7,4.55,20.9), (7.975,20.7,8.175,20.9), (8.375,20.7,8.575,20.9), (14.75,20.7,14.95,20.9), (15.15,20.7,15.35,20.9), (3.95,21.1,4.15,21.3), (4.35,21.1,4.55,21.3), (7.975,21.1,8.175,21.3), (8.375,21.1,8.575,21.3), (14.75,21.1,14.95,21.3), (15.15,21.1,15.35,21.3)])
R(latched_switch, met3_pin, [(0.275,4.6,1.275,5.6), (0.275,8.8,1.275,9.8)])
R(latched_switch, met3, [(13.55,0.675,14.54,0.7), (3.75,0.7,4.75,6.525), (9.92,0.7,10.98,1.7), (13.545,0.7,14.545,1.7), (13.55,1.7,14.54,1.725), (1.85,4.575,2.9,4.6), (0.275,4.6,2.9,5.6), (1.85,5.6,2.9,5.625), (0.275,6.525,4.75,7.525), (0.275,7.525,1.275,9.8), (1.675,8.775,2.725,9.825), (1.7,9.825,2.7,20.5), (7.75,20.475,8.8,20.5), (1.7,20.5,4.75,21.5), (7.75,20.5,15.55,21.5), (7.75,21.5,8.8,21.525)])
R(latched_switch, via3, [(10.15,0.9,10.35,1.1), (10.55,0.9,10.75,1.1), (13.745,0.9,13.945,1.1), (14.145,0.9,14.345,1.1), (10.15,1.3,10.35,1.5), (10.55,1.3,10.75,1.5), (13.745,1.3,13.945,1.5), (14.145,1.3,14.345,1.5)])
R(latched_switch, met4_pin, [(9.95,0.7,10.95,1.7)])
R(latched_switch, met4, [(9.945,0.695,10.955,0.7), (9.945,0.7,14.545,1.7), (9.945,1.7,10.955,1.705)])
R(latched_switch, nsdm, [(2.875,9.555,2.905,13.115), (13.675,9.555,13.705,22.115)])
R(latched_switch, psdm, [(13.675,0.055,13.705,9.025), (2.875,5.905,2.905,9.025)])
latched_switch.add(gdstk.Reference(inverter, (0,5.85)))
latched_switch.add(gdstk.Reference(latch, (2.7,0)))
latched_switch.add(gdstk.Reference(pass_gate, (13.5,0)))
latched_switch.add(gdstk.Label('VDD', (0.75,19), layer=69, texttype=5))
latched_switch.add(gdstk.Label('Q', (10.45,1.2), layer=71, texttype=5))
latched_switch.add(gdstk.Label('D', (0.775,5.1), layer=70, texttype=5))
latched_switch.add(gdstk.Label('GATE', (0.775,9.3), layer=70, texttype=5))
latched_switch.add(gdstk.Label('UB', (15.75,9.3), layer=69, texttype=5))
latched_switch.add(gdstk.Label('UA', (14.325,9.3), layer=69, texttype=5))
latched_switch.add(gdstk.Label('VSS', (0.775,3.2), layer=69, texttype=5))

resistor_cell = lib.new_cell('resistor_cell')
R(resistor_cell, li1, [(23.46,8.055,24.25,8.325), (23.63,8.68,24.08,10.99), (23.63,19.59,24.08,21.9), (23.435,22.255,24.275,22.525)])
A(resistor_cell, mcon, 23.77, 8.85, 0.17, 0.17, 1, 6, 0, 0.36)
R(resistor_cell, mcon, [(23.59,8.105,23.76,8.275), (23.95,8.105,24.12,8.275), (23.59,22.305,23.76,22.475), (23.95,22.305,24.12,22.475)])
R(resistor_cell, met1, [(4.105,2.615,5.22,2.645), (23.29,2.615,24.405,8.33), (4.06,2.645,5.26,3.76), (4.105,3.76,5.22,25.215), (23.63,8.68,24.08,10.99), (2.1,8.77,3.1,8.8), (2.07,8.8,3.13,9.8), (2.1,9.8,3.1,31.375), (23.63,19.59,24.08,21.9), (23.315,22.245,24.43,25.22), (4.075,25.215,5.25,26.33), (23.285,25.22,24.46,26.335), (4.105,26.33,5.22,47.79), (2.07,31.375,3.13,32.375), (2.1,32.375,3.1,49.725), (4.075,47.79,5.25,48.905), (4.105,48.905,5.22,48.96), (2.1,49.725,5.15,50.725), (4.15,50.725,5.15,53.95), (4.12,53.95,5.18,54.95), (4.15,54.95,5.15,55.005)])
A(resistor_cell, via, 4.265, 2.805, 0.15, 0.15, 3, 3, 0.32, 0.32)
A(resistor_cell, via, 23.45, 2.805, 0.15, 0.15, 3, 3, 0.32, 0.32)
A(resistor_cell, via, 2.205, 8.905, 0.15, 0.15, 3, 3, 0.32, 0.32)
A(resistor_cell, via, 23.78, 8.96, 0.15, 0.15, 1, 6, 0, 0.32)
A(resistor_cell, via, 23.78, 19.765, 0.15, 0.15, 1, 5, 0, 0.32)
A(resistor_cell, via, 4.265, 25.375, 0.15, 0.15, 3, 3, 0.32, 0.32)
A(resistor_cell, via, 23.475, 25.38, 0.15, 0.15, 3, 3, 0.32, 0.32)
A(resistor_cell, via, 2.205, 31.48, 0.15, 0.15, 3, 3, 0.32, 0.32)
A(resistor_cell, via, 4.265, 47.95, 0.15, 0.15, 3, 3, 0.32, 0.32)
A(resistor_cell, via, 4.255, 54.055, 0.15, 0.15, 3, 3, 0.32, 0.32)
R(resistor_cell, met2_pin, [(2.1,2.7,3.1,3.7), (2.1,8.8,3.1,9.8), (2.1,18.5,3.1,19.5), (25.45,31.375,26.45,32.375), (25.5,53.95,26.5,54.95)])
A(resistor_cell, met2, 2.05, 2.645, 5.335, 1.115, 1, 3, 0, 22.575)
R(resistor_cell, met2, [(4.09,2.615,5.23,2.645), (20.52,2.645,24.435,3.76), (4.09,3.76,5.23,3.79), (19.785,6.8,20.875,7.8), (19.83,7.8,20.83,9.8), (23.63,8.68,24.08,8.8), (2.1,8.77,3.1,8.8), (2.05,8.8,7.275,9.8), (21.25,8.8,24.35,9.8), (2.1,9.8,3.1,9.83), (23.35,9.8,24.35,10.35), (23.63,10.35,24.08,10.99), (2.05,18.445,7.355,19.55), (3.1,19.55,7.3,19.555), (23.63,19.59,24.08,20.205), (23.355,20.205,24.355,21.3), (4.105,25.185,5.22,25.215), (23.315,25.19,24.43,25.22), (4.075,25.215,7.305,25.22), (21.175,25.22,24.43,26.335), (4.105,26.335,5.22,26.36), (23.315,26.335,24.43,26.365), (23.355,27.275,24.355,27.3), (23.335,27.3,24.375,28.25), (23.355,28.25,24.355,31.375), (19.825,29.4,20.825,29.425), (19.805,29.425,20.845,30.375), (19.825,30.375,20.825,32.375), (2.1,31.345,3.1,31.375), (2.05,31.375,7.275,32.375), (21.25,31.375,26.45,32.375), (2.07,32.375,3.13,32.4), (2.1,32.4,3.1,32.405), (4.125,41.005,5.18,41.02), (2.05,41.02,7.355,42.125), (3.775,42.125,6.2,42.13), (4.125,42.13,5.18,42.15), (4.105,47.76,5.22,47.79), (4.105,47.79,6.68,47.795), (4.075,48.91,5.25,48.93), (4.105,48.93,5.22,48.935), (19.825,51.475,20.825,51.5), (19.805,51.5,20.845,52.45), (19.825,52.45,20.825,54.95), (4.15,53.92,5.15,53.95), (4.075,53.95,7.275,54.95), (21.25,53.95,26.5,54.95), (4.12,54.95,5.18,54.975), (4.15,54.975,5.15,54.98), (6.195,63.55,7.3,63.595), (6.165,63.595,7.355,64.7), (6.195,64.7,7.3,64.745)])
A(resistor_cell, via2, 6.245, 63.645, 0.2, 0.2, 3, 3, 0.4, 0.4)
R(resistor_cell, via2, [(20.03,7,20.23,7.2), (20.43,7,20.63,7.2), (20.03,7.4,20.23,7.6), (20.43,7.4,20.63,7.6), (6.475,9,6.675,9.2), (6.875,9,7.075,9.2), (6.475,9.4,6.675,9.6), (6.875,9.4,7.075,9.6), (4.35,18.7,4.55,18.9), (4.75,18.7,4.95,18.9), (4.35,19.1,4.55,19.3), (4.75,19.1,4.95,19.3), (23.555,20.45,23.755,20.65), (23.955,20.45,24.155,20.65), (23.555,20.85,23.755,21.05), (23.955,20.85,24.155,21.05), (23.555,27.475,23.755,27.675), (23.955,27.475,24.155,27.675), (23.555,27.875,23.755,28.075), (23.955,27.875,24.155,28.075), (20.025,29.6,20.225,29.8), (20.425,29.6,20.625,29.8), (20.025,30,20.225,30.2), (20.425,30,20.625,30.2), (6.475,31.575,6.675,31.775), (6.875,31.575,7.075,31.775), (6.475,31.975,6.675,32.175), (6.875,31.975,7.075,32.175), (4.35,41.275,4.55,41.475), (4.75,41.275,4.95,41.475), (4.35,41.675,4.55,41.875), (4.75,41.675,4.95,41.875), (20.025,51.675,20.225,51.875), (20.425,51.675,20.625,51.875), (20.025,52.075,20.225,52.275), (20.425,52.075,20.625,52.275), (6.475,54.15,6.675,54.35), (6.875,54.15,7.075,54.35), (6.475,54.55,6.675,54.75), (6.875,54.55,7.075,54.75)])
A(resistor_cell, met3_pin, 6.275, 4.6, 1, 1, 1, 3, 0, 22.575)
R(resistor_cell, met3_pin, [(25.45,29.4,26.45,30.4)])
A(resistor_cell, met3, 6.275, 4.6, 1, 1, 1, 3, 0, 22.575)
A(resistor_cell, met3, 6.3, 8.825, 0.95, 0.95, 1, 3, 0, 22.575)
R(resistor_cell, met3, [(19.805,6.775,20.855,6.8), (19.805,6.8,24.4,7.8), (19.805,7.8,20.855,7.825), (23.4,7.8,24.4,18.05), (23.4,18.05,26.45,19.05), (4.075,18.425,5.23,19.58), (25.45,19.05,26.45,29.4), (4.1,19.58,5.205,41), (23.33,20.225,24.38,21.275), (23.355,21.275,24.355,28.275), (19.825,29.4,26.45,30.4), (23.35,30.4,24.35,51.475), (4.075,41,5.23,42.155), (4.1,42.155,5.205,59.125), (19.825,51.475,24.35,52.475), (4.1,59.125,7.3,60.23), (6.195,60.23,7.3,63.57), (6.17,63.57,7.325,64.725)])
R(resistor_cell, hvi, [(8.845,22.32,11.635,22.57), (16.945,22.32,22.435,22.57), (8.845,44.895,11.635,45.145), (16.945,44.895,22.435,45.145)])
resistor_cell.add(gdstk.Reference(sky130_fd_pr__res_xhigh_, (23.855,15.29)))
resistor_cell.add(gdstk.Reference(latched_switch, (6,45.15)))
resistor_cell.add(gdstk.Reference(latched_switch, (6,22.575)))
resistor_cell.add(gdstk.Reference(latched_switch, (6,0)))
resistor_cell.add(gdstk.Label('VDD', (2.6,19), layer=69, texttype=5))
resistor_cell.add(gdstk.Label('LINE', (26,54.45), layer=69, texttype=5))
resistor_cell.add(gdstk.Label('D_LINE', (6.775,50.25), layer=70, texttype=5))
resistor_cell.add(gdstk.Label('D_SHORT', (6.775,27.675), layer=70, texttype=5))
resistor_cell.add(gdstk.Label('UB', (25.95,31.875), layer=69, texttype=5))
resistor_cell.add(gdstk.Label('D_RES', (6.775,5.1), layer=70, texttype=5))
resistor_cell.add(gdstk.Label('GATE', (2.6,9.3), layer=69, texttype=5))
resistor_cell.add(gdstk.Label('UA', (25.95,29.9), layer=70, texttype=5))
resistor_cell.add(gdstk.Label('VSS', (2.6,3.2), layer=69, texttype=5))

grid_cell = lib.new_cell('grid_cell')
R(grid_cell, nwell, [(20.56,63.5,20.675,67.47)])
R(grid_cell, met1_pin, [(21.7,63.775,22.7,64.775), (24.425,63.775,25.425,64.775)])
R(grid_cell, met1, [(23,53.88,28.61,54.985), (23,54.985,24.105,59.655), (21.7,63.775,22.7,64.775), (24.425,63.775,25.425,64.775)])
A(grid_cell, via, 23.155, 58.675, 0.15, 0.15, 3, 3, 0.32, 0.32)
R(grid_cell, met2_pin, [(0.075,2.7,1.075,3.7), (0.075,18.5,1.075,19.5), (23.425,31.375,24.425,32.375), (48.85,31.375,49.85,32.375), (23.475,53.95,24.475,54.95), (48.9,53.95,49.9,54.95)])
R(grid_cell, met2, [(18.445,2.645,26.545,3.76), (0.075,2.7,1.075,3.7), (18.5,17.525,26.56,18.63), (0.075,18.5,1.075,19.5), (18.5,18.63,19.605,19.55), (25.455,18.63,26.56,19.55), (18.445,25.22,26.545,26.335), (23.425,31.375,24.425,32.375), (48.85,31.375,49.85,32.375), (18.45,41.02,26.575,42.125), (18.445,47.795,26.545,47.825), (18.445,47.825,26.55,48.91), (25.55,48.91,26.55,60.675), (23.475,53.95,24.475,54.95), (48.9,53.95,49.9,54.95), (22.97,58.52,24.135,58.525), (22.955,58.525,24.15,59.63), (23,59.63,24.105,59.675), (25.55,60.675,27.35,61.675), (14.355,61.77,15.355,61.815), (18.55,61.795,19.5,61.815), (14.355,61.815,19.525,62.815), (14.355,62.815,15.355,62.86), (18.55,62.815,19.5,62.835), (27.73,62.95,28.82,63.95), (18.52,63.625,20.975,64.625), (29.65,63.65,30.65,66.475), (19.975,64.625,20.975,66.475), (25.45,65.45,27.35,66.475), (19.975,66.475,30.65,67.475)])
A(grid_cell, via2, 23.05, 58.575, 0.2, 0.2, 3, 3, 0.4, 0.4)
R(grid_cell, via2, [(14.555,62.015,14.755,62.215), (14.955,62.015,15.155,62.215), (18.725,62.015,18.925,62.215), (19.125,62.015,19.325,62.215), (14.555,62.415,14.755,62.615), (14.955,62.415,15.155,62.615), (18.725,62.415,18.925,62.615), (19.125,62.415,19.325,62.615), (27.975,63.15,28.175,63.35), (28.375,63.15,28.575,63.35), (27.975,63.55,28.175,63.75), (28.375,63.55,28.575,63.75)])
A(grid_cell, met3_pin, 4.25, 4.6, 1, 1, 1, 3, 0, 22.575)
A(grid_cell, met3_pin, 29.675, 4.6, 1, 1, 1, 3, 0, 22.575)
R(grid_cell, met3_pin, [(21.35,-1.525,22.35,-0.525)])
A(grid_cell, met3, 4.25, 4.6, 1, 1, 1, 3, 0, 22.575)
A(grid_cell, met3, 29.675, 4.6, 1, 1, 1, 3, 0, 22.575)
R(grid_cell, met3, [(21.35,-1.525,47.805,-0.525), (21.35,-0.525,22.35,7.8), (46.805,-0.525,47.805,7.8), (22.975,58.5,24.13,58.525), (18.55,58.525,24.13,58.575), (18.525,58.575,24.13,59.63), (18.525,59.63,19.525,62.815), (22.975,59.63,24.13,59.655), (22.995,59.655,24.1,61.065), (22.995,61.065,27.395,62.17), (12.63,61.325,15.38,62.325), (26.29,62.17,27.395,62.895), (14.33,62.325,15.38,62.84), (26.29,62.895,28.85,64)])
R(grid_cell, hvi, [(20.56,59.995,20.82,63.5), (20.56,63.5,20.675,67.47)])
grid_cell.add(gdstk.Reference(and_gate, (20.675,60)))
grid_cell.add(gdstk.Reference(resistor_cell, (23.405,0)))
grid_cell.add(gdstk.Reference(resistor_cell, (-2.02,0)))
grid_cell.add(gdstk.Label('VDD', (0.575,19), layer=69, texttype=5))
grid_cell.add(gdstk.Label('H_GATE', (22.2,64.275), layer=68, texttype=5))
grid_cell.add(gdstk.Label('V_GATE', (24.925,64.275), layer=68, texttype=5))
grid_cell.add(gdstk.Label('V_LINE', (23.975,54.45), layer=69, texttype=5))
grid_cell.add(gdstk.Label('VD_LINE', (4.75,50.25), layer=70, texttype=5))
grid_cell.add(gdstk.Label('V_NEXT', (23.925,31.875), layer=69, texttype=5))
grid_cell.add(gdstk.Label('VD_SHORT', (4.75,27.675), layer=70, texttype=5))
grid_cell.add(gdstk.Label('VD_RES', (4.75,5.1), layer=70, texttype=5))
grid_cell.add(gdstk.Label('H_LINE', (49.4,54.45), layer=69, texttype=5))
grid_cell.add(gdstk.Label('HD_LINE', (30.175,50.25), layer=70, texttype=5))
grid_cell.add(gdstk.Label('H_NEXT', (49.35,31.875), layer=69, texttype=5))
grid_cell.add(gdstk.Label('HD_SHORT', (30.175,27.675), layer=70, texttype=5))
grid_cell.add(gdstk.Label('HD_RES', (30.175,5.1), layer=70, texttype=5))
grid_cell.add(gdstk.Label('NODE', (21.85,-1.025), layer=70, texttype=5))
grid_cell.add(gdstk.Label('VSS', (0.575,3.2), layer=69, texttype=5))

lib.write_gds('grid_cell.gds')
